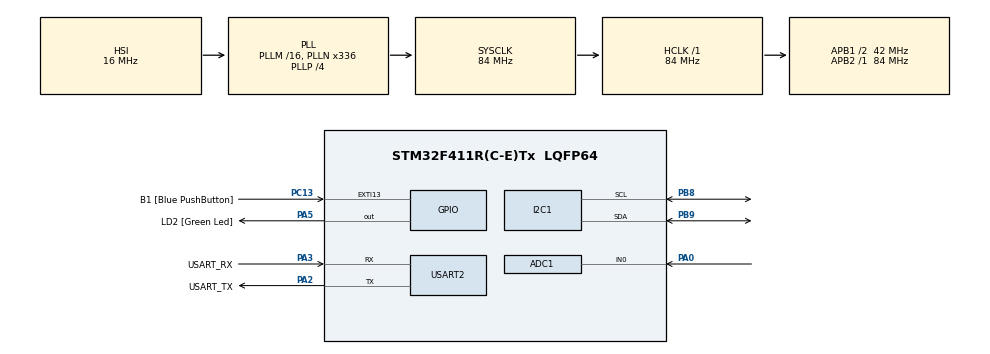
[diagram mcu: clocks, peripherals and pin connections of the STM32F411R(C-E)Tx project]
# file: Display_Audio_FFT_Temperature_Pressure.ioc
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Mcu.Family=STM32F4
Dma.I2C1_TX.0.Instance=DMA1_Stream1
RCC.CortexFreq_Value=84000000
Dma.ADC1.1.MemDataAlignment=DMA_MDATAALIGN_HALFWORD
NVIC.I2C1_EV_IRQn=true\:0\:0\:false\:true\:true\:1\:true\:true
Dma.I2C1_TX.0.PeriphDataAlignment=DMA_PDATAALIGN_BYTE
Dma.I2C1_TX.0.Direction=DMA_MEMORY_TO_PERIPH
PA14.GPIO_Label=TCK
RCC.SYSCLKSource=RCC_SYSCLKSOURCE_PLLCLK
ProjectManager.StackSize=0x400
NVIC.ADC_IRQn=true\:0\:0\:false\:true\:true\:3\:true\:true
PH0\ -\ OSC_IN.Signal=RCC_OSC_IN
Dma.ADC1.1.Instance=DMA2_Stream0
RCC.HCLKFreq_Value=84000000
RCC.APB2TimFreq_Value=84000000
Dma.ADC1.1.PeriphDataAlignment=DMA_PDATAALIGN_HALFWORD
Dma.I2C1_TX.0.Priority=DMA_PRIORITY_LOW
NVIC.DMA2_Stream0_IRQn=true\:0\:0\:false\:true\:true\:4\:false\:true
RCC.AHBFreq_Value=84000000
ADC1.Channel-0\#ChannelRegularConversion=ADC_CHANNEL_0
RCC.HSE_VALUE=8000000
PC13-ANTI_TAMP.Signal=GPXTI13
PC14-OSC32_IN.Mode=LSE-External-Oscillator
PA14.Mode=Serial_Wire
Dma.I2C1_TX.0.MemInc=DMA_MINC_ENABLE
Dma.ADC1.1.Priority=DMA_PRIORITY_LOW
Dma.ADC1.1.Mode=DMA_CIRCULAR
SH.ADCx_IN0.0=ADC1_IN0,IN0
ADC1.SamplingTime-0\#ChannelRegularConversion=ADC_SAMPLETIME_3CYCLES
RCC.FLatency-AdvancedSettings=FLASH_LATENCY_2
Dma.I2C1_TX.0.PeriphInc=DMA_PINC_DISABLE
Mcu.Package=LQFP64
PB9.Signal=I2C1_SDA
TIM2.Prescaler=2
USART2.VirtualMode=VM_ASYNC
Dma.ADC1.1.Direction=DMA_PERIPH_TO_MEMORY
PA2.GPIO_Label=USART_TX
Dma.ADC1.1.MemInc=DMA_MINC_ENABLE
Dma.I2C1_TX.0.MemDataAlignment=DMA_MDATAALIGN_BYTE
TIM2.TIM_MasterOutputTrigger=TIM_TRGO_UPDATE
Dma.Request1=ADC1
RCC.APB1TimFreq_Value=84000000
Dma.I2C1_TX.0.Mode=DMA_NORMAL
Dma.Request0=I2C1_TX
PA3.Signal=USART2_RX
PB3.GPIO_Label=SWO
PC15-OSC32_OUT.Mode=LSE-External-Oscillator
ADC1.Rank-0\#ChannelRegularConversion=1
PC13-ANTI_TAMP.GPIO_Label=B1 [Blue PushButton]
PH1\ -\ OSC_OUT.Mode=HSE-External-Clock-Source
NVIC.DMA1_Stream1_IRQn=true\:0\:0\:false\:true\:true\:2\:false\:true
RCC.APB1CLKDivider=RCC_HCLK_DIV2
PC14-OSC32_IN.Signal=RCC_OSC32_IN
PA0-WKUP.Signal=ADCx_IN0
PA13.Signal=SYS_JTMS-SWDIO
PA3.Mode=Asynchronous
PH0\ -\ OSC_IN.Mode=HSE-External-Clock-Source
ProjectManager.TargetToolchain=STM32CubeIDE
I2C1.I2C_Mode=I2C_Fast
PB9.Mode=I2C
PC15-OSC32_OUT.Signal=RCC_OSC32_OUT
PA5.Signal=GPIO_Output
PH1\ -\ OSC_OUT.Signal=RCC_OSC_OUT
board=NUCLEO-F411RE
RCC.VCOOutputFreq_Value=336000000
Dma.ADC1.1.FIFOMode=DMA_FIFOMODE_DISABLE
RCC.APB2Freq_Value=84000000
VP_TIM2_VS_ClockSourceINT.Mode=Internal
Dma.ADC1.1.PeriphInc=DMA_PINC_DISABLE
ADC1.DMAContinuousRequests=ENABLE
TIM2.Period=634
PA13.Mode=Serial_Wire
Mcu.Name=STM32F411R(C-E)Tx
PA13.GPIO_Label=TMS
PA2.Signal=USART2_TX
ADC1.ExternalTrigConv=ADC_EXTERNALTRIGCONV_T2_TRGO
RCC.48MHZClocksFreq_Value=84000000
PB3.Signal=SYS_JTDO-SWO
RCC.SYSCLKFreq_VALUE=84000000
ADC1.master=1
PA5.GPIO_Label=LD2 [Green Led]
PC13-ANTI_TAMP.GPIO_ModeDefaultEXTI=GPIO_MODE_IT_FALLING
PA14.Signal=SYS_JTCK-SWCLK
ProjectManager.HeapSize=0x200
RCC.HSI_VALUE=16000000
RCC.PLLP=RCC_PLLP_DIV4
NVIC.PriorityGroup=NVIC_PRIORITYGROUP_0
ADC1.NbrOfConversionFlag=1
Dma.I2C1_TX.0.FIFOMode=DMA_FIFOMODE_DISABLE
PB8.Mode=I2C
RCC.PLLN=336
PA2.Mode=Asynchronous
PB8.Signal=I2C1_SCL
RCC.APB1Freq_Value=42000000
PA3.GPIO_Label=USART_RX

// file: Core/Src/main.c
/* USER CODE BEGIN Header */
/**
  ******************************************************************************
  * @file           : main.c
  * @brief          : Main program body
  ******************************************************************************
  * @attention
  *
  * <h2><center>&copy; Copyright (c) 2020 STMicroelectronics.
  * All rights reserved.</center></h2>
  *
  * This software component is licensed by ST under BSD 3-Clause license,
  * the "License"; You may not use this file except in compliance with the
  * License. You may obtain a copy of the License at:
  *                        opensource.org/licenses/BSD-3-Clause
  *
  ******************************************************************************
  */
/* USER CODE END Header */
#include "main.h"
#include "adc.h"
#include "dma.h"
#include "i2c.h"
#include "tim.h"
#include "usart.h"
#include "gpio.h"

/* USER CODE BEGIN Includes */
#include "SSD1306_OLED.h"
#include "GFX_BW.h"
#include "fonts/fonts.h"
#include "bmp280.h"
#include "stdio.h"
#include "arm_math.h"
/* USER CODE END Includes */

/* USER CODE BEGIN PTD */
#define FFT_SAMPLES 1024
/* USER CODE END PTD */

/* USER CODE BEGIN PV */

// BMP280
BMP280_t Bmp280;
float Pressure, Temperature;

// OLED Print
char Message[32];

// FFT
uint16_t AdcMicrophone[FFT_SAMPLES];
float FFTInBuffer[FFT_SAMPLES];
float FFTOutBuffer[FFT_SAMPLES];

arm_rfft_fast_instance_f32 FFTHandler;

volatile uint8_t SamplesReady;

uint8_t OutFreqArray[10];

// Soft Timers
uint32_t SoftTimerBmp;
uint32_t SoftTimerOled;

/* USER CODE END PV */

void SystemClock_Config(void);
static void MX_NVIC_Init(void);
/* USER CODE BEGIN PFP */
void CalculateFFT(void);
/* USER CODE END PFP */

int main(void)
{

  /* MCU Configuration--------------------------------------------------------*/

  /* Reset of all peripherals, Initializes the Flash interface and the Systick. */
  HAL_Init();

  /* Configure the system clock */
  SystemClock_Config();

  /* Initialize all configured peripherals */
  MX_GPIO_Init();
  MX_DMA_Init();
  MX_USART2_UART_Init();
  MX_I2C1_Init();
  MX_ADC1_Init();
  MX_TIM2_Init();

  /* Initialize interrupts */
  MX_NVIC_Init();
  /* USER CODE BEGIN 2 */
  BMP280_Init(&Bmp280, &hi2c1, 0x76); //address I2C device

  SSD1306_Init(&hi2c1);

  GFX_SetFont(font_8x5);

  SSD1306_Clear(BLACK); //pixels turn off

  SSD1306_Display();

  HAL_TIM_Base_Start(&htim2);
  HAL_ADC_Start_DMA(&hadc1, (uint32_t*)AdcMicrophone, FFT_SAMPLES);

  arm_rfft_fast_init_f32(&FFTHandler, FFT_SAMPLES);

  SoftTimerBmp = HAL_GetTick();
  SoftTimerOled = HAL_GetTick();
  /* USER CODE END 2 */

  /* Infinite loop */
  /* USER CODE BEGIN WHILE */
  while (1)
  {
	  // FFT
	  if(SamplesReady == 1)
	  {
		  SamplesReady = 0;

		  for(uint32_t i = 0; i < FFT_SAMPLES; i++)
		  {
			  FFTInBuffer[i] =  (float)AdcMicrophone[i];
		  }

		  CalculateFFT();
	  }

	  // BMP280
	  if((HAL_GetTick() - SoftTimerBmp) > 10)
	  {
		  SoftTimerBmp = HAL_GetTick();

		  if(Bmp280.bmp_i2c->State == HAL_I2C_STATE_READY)
		  {
			  BMP280_ReadPressureAndTemperature(&Bmp280, &Pressure, &Temperature);
		  }
	  }

	  // OLED
	  if((HAL_GetTick() - SoftTimerOled) > 100)
	  {
		  SoftTimerOled = HAL_GetTick();

		  SSD1306_Clear(BLACK);

		  sprintf(Message, "Press [hPa]: %.2f", Pressure);
		  GFX_DrawString(0, 0, Message, WHITE, 0);

		  sprintf(Message, "Temp ['C]: %.2f", Temperature);
		  GFX_DrawString(0, 10, Message, WHITE, 0);

		  // FFT
		  for(uint8_t i = 0; i < 10; i++) // Each frequency
		  {
			  GFX_DrawFillRectangle(10+(i*11), 64-OutFreqArray[i], 10, OutFreqArray[i], WHITE);
		  }

		  SSD1306_Display();
	  }

    /* USER CODE END WHILE */

  }
}

void SystemClock_Config(void)
{
  RCC_OscInitTypeDef RCC_OscInitStruct = {0};
  RCC_ClkInitTypeDef RCC_ClkInitStruct = {0};

  /** Configure the main internal regulator output voltage
  */
  __HAL_RCC_PWR_CLK_ENABLE();
  __HAL_PWR_VOLTAGESCALING_CONFIG(PWR_REGULATOR_VOLTAGE_SCALE1);
  /** Initializes the RCC Oscillators according to the specified parameters
  * in the RCC_OscInitTypeDef structure.
  */
  RCC_OscInitStruct.OscillatorType = RCC_OSCILLATORTYPE_HSI;
  RCC_OscInitStruct.HSIState = RCC_HSI_ON;
  RCC_OscInitStruct.HSICalibrationValue = RCC_HSICALIBRATION_DEFAULT;
  RCC_OscInitStruct.PLL.PLLState = RCC_PLL_ON;
  RCC_OscInitStruct.PLL.PLLSource = RCC_PLLSOURCE_HSI;
  RCC_OscInitStruct.PLL.PLLM = 16;
  RCC_OscInitStruct.PLL.PLLN = 336;
  RCC_OscInitStruct.PLL.PLLP = RCC_PLLP_DIV4;
  RCC_OscInitStruct.PLL.PLLQ = 4;
  if (HAL_RCC_OscConfig(&RCC_OscInitStruct) != HAL_OK)
  {
    Error_Handler();
  }
  /** Initializes the CPU, AHB and APB buses clocks
  */
  RCC_ClkInitStruct.ClockType = RCC_CLOCKTYPE_HCLK|RCC_CLOCKTYPE_SYSCLK
                              |RCC_CLOCKTYPE_PCLK1|RCC_CLOCKTYPE_PCLK2;
  RCC_ClkInitStruct.SYSCLKSource = RCC_SYSCLKSOURCE_PLLCLK;
  RCC_ClkInitStruct.AHBCLKDivider = RCC_SYSCLK_DIV1;
  RCC_ClkInitStruct.APB1CLKDivider = RCC_HCLK_DIV2;
  RCC_ClkInitStruct.APB2CLKDivider = RCC_HCLK_DIV1;

  if (HAL_RCC_ClockConfig(&RCC_ClkInitStruct, FLASH_LATENCY_2) != HAL_OK)
  {
    Error_Handler();
  }
}

/**
  * @brief NVIC Configuration.
  * @retval None
  */
static void MX_NVIC_Init(void)
{
  /* I2C1_EV_IRQn interrupt configuration */
  HAL_NVIC_SetPriority(I2C1_EV_IRQn, 0, 0);
  HAL_NVIC_EnableIRQ(I2C1_EV_IRQn);
  /* DMA1_Stream1_IRQn interrupt configuration */
  HAL_NVIC_SetPriority(DMA1_Stream1_IRQn, 0, 0);
  HAL_NVIC_EnableIRQ(DMA1_Stream1_IRQn);
  /* ADC_IRQn interrupt configuration */
  HAL_NVIC_SetPriority(ADC_IRQn, 0, 0);
  HAL_NVIC_EnableIRQ(ADC_IRQn);
  /* DMA2_Stream0_IRQn interrupt configuration */
  HAL_NVIC_SetPriority(DMA2_Stream0_IRQn, 0, 0);
  HAL_NVIC_EnableIRQ(DMA2_Stream0_IRQn);
}

/* USER CODE BEGIN 4 */
void HAL_ADC_ConvCpltCallback(ADC_HandleTypeDef* hadc)
{
	if(hadc->Instance == ADC1)
	{
		SamplesReady = 1;
	}
}

float complexABS(float real, float compl) {
	return sqrtf(real*real+compl*compl);
}

void CalculateFFT(void)
{
	arm_rfft_fast_f32(&FFTHandler, FFTInBuffer, FFTOutBuffer, 0);

	int Freqs[FFT_SAMPLES];
	int FreqPoint = 0;
	int Offset = 65; // variable noise floor offset

	// calculate abs values and linear-to-dB
	for (int i = 0; i < FFT_SAMPLES; i = i+2)
	{
		Freqs[FreqPoint] = (int)(20*log10f(complexABS(FFTOutBuffer[i], FFTOutBuffer[i+1]))) - Offset;

		if(Freqs[FreqPoint] < 0)
		{
			Freqs[FreqPoint] = 0;
		}
		FreqPoint++;
	}

	OutFreqArray[0] = (uint8_t)Freqs[1]; // 22 Hz
	OutFreqArray[1] = (uint8_t)Freqs[2]; // 63 Hz
	OutFreqArray[2] = (uint8_t)Freqs[3]; // 125 Hz
	OutFreqArray[3] = (uint8_t)Freqs[6]; // 250 Hz
	OutFreqArray[4] = (uint8_t)Freqs[12]; // 500 Hz
	OutFreqArray[5] = (uint8_t)Freqs[23]; // 1000 Hz
	OutFreqArray[6] = (uint8_t)Freqs[51]; // 2200 Hz
	OutFreqArray[7] = (uint8_t)Freqs[104]; // 4500 Hz
	OutFreqArray[8] = (uint8_t)Freqs[207]; // 9000 Hz
	OutFreqArray[9] = (uint8_t)Freqs[344]; // 15000 Hz
}
/* USER CODE END 4 */

void Error_Handler(void)
{
}

/************************ (C) COPYRIGHT STMicroelectronics *****END OF FILE****/
